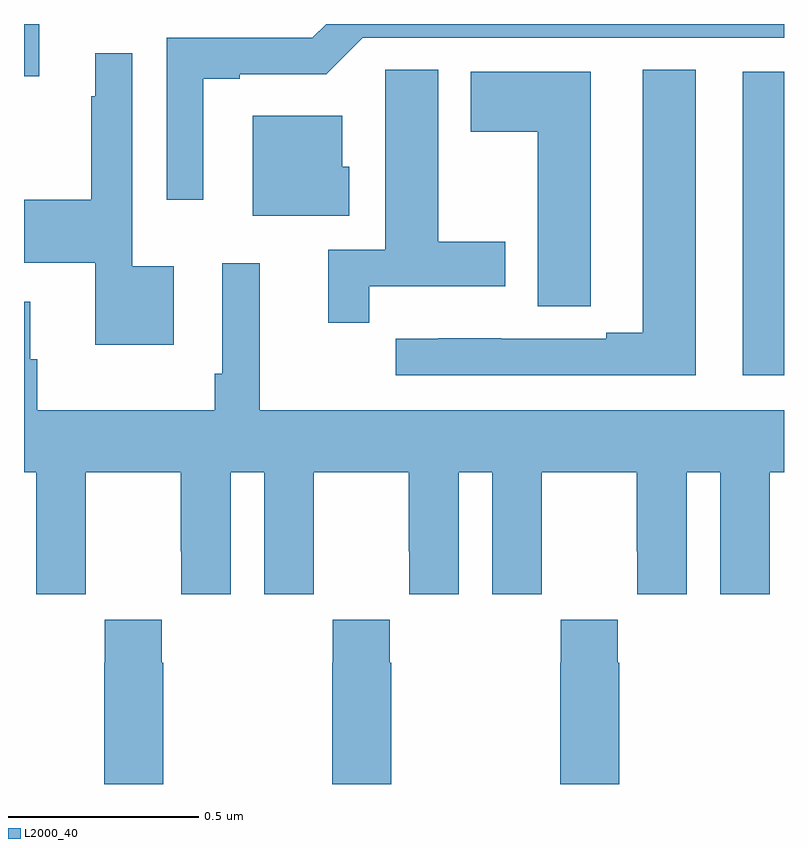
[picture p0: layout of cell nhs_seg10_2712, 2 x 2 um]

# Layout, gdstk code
import gdstk
lib = gdstk.Library(unit=1e-6, precision=1e-09)
def R(c, l, rs):  # rectangles x0, y0, x1, y1
    for r in rs: c.add(gdstk.rectangle(r[:2], r[2:], *l))
def P(c, l, *ps):  # polygons
    for p in ps: c.add(gdstk.Polygon(p, *l))
L2000_40 = (2000, 40)

nhs_seg10_2712 = lib.new_cell('nhs_seg10_2712')
R(nhs_seg10_2712, L2000_40, [(145.892,1296.576,146,1297.374), (144,1297.362,144.04,1297.5)])
P(nhs_seg10_2712, L2000_40, [(144.472,1297.356),(144.568,1297.356),(144.568,1297.368),(144.795,1297.368),(144.891,1297.464),(146,1297.464),(146,1297.5),(144.795,1297.5),(144.759,1297.464),(144.375,1297.464),(144.375,1297.038),(144.472,1297.038)],
  [(144.394,1296.862),(144.285,1296.862),(144.285,1297.423),(144.188,1297.423),(144.188,1297.31),(144.177,1297.31),(144.177,1297.038),(144,1297.038),(144,1296.872),(144.188,1296.872),(144.188,1296.656),(144.394,1296.656)],
  [(144.908,1296.81),(145.267,1296.81),(145.267,1296.927),(145.09,1296.927),(145.09,1297.379),(144.951,1297.379),(144.951,1297.268),(144.95,1297.268),(144.95,1296.906),(144.8,1296.906),(144.8,1296.714),(144.908,1296.714)],
  [(145.768,1297.379),(145.628,1297.379),(145.628,1296.687),(145.532,1296.687),(145.532,1296.672),(145.256,1296.672),(145.256,1296.673),(145.09,1296.673),(145.09,1296.672),(144.978,1296.672),(144.978,1296.576),(145.768,1296.576)],
  [(145.491,1296.865),(145.492,1296.865),(145.492,1297.375),(145.175,1297.375),(145.175,1297.216),(145.352,1297.216),(145.352,1296.757),(145.491,1296.757)],
  [(144.856,1297.125),(144.838,1297.125),(144.838,1297.258),(144.602,1297.258),(144.602,1296.995),(144.856,1296.995)],
  [(144.162,1296.112),(144.163,1296.112),(144.163,1296.32),(144.413,1296.32),(144.413,1296.112),(144.414,1296.112),(144.414,1296),(144.544,1296),(144.544,1296.32),(144.632,1296.32),(144.632,1296),(144.762,1296),(144.762,1296.112),(144.763,1296.112),(144.763,1296.32),(145.013,1296.32),(145.013,1296.112),(145.014,1296.112),(145.014,1296),(145.144,1296),(145.144,1296.32),(145.232,1296.32),(145.232,1296),(145.362,1296),(145.362,1296.112),(145.363,1296.112),(145.363,1296.32),(145.613,1296.32),(145.613,1296.112),(145.614,1296.112),(145.614,1296),(145.744,1296),(145.744,1296.32),(145.832,1296.32),(145.832,1296),(145.962,1296),(145.962,1296.112),(145.963,1296.112),(145.963,1296.32),(146,1296.32),(146,1296.484),(144.62,1296.484),(144.62,1296.871),(144.522,1296.871),(144.522,1296.58),(144.502,1296.58),(144.502,1296.484),(144.035,1296.484),(144.035,1296.618),(144.016,1296.618),(144.016,1296.769),(144,1296.769),(144,1296.32),(144.032,1296.32),(144.032,1296),(144.162,1296)],
  [(145.566,1295.819),(145.563,1295.819),(145.563,1295.932),(145.413,1295.932),(145.413,1295.819),(145.411,1295.819),(145.411,1295.5),(145.566,1295.5)],
  [(144.366,1295.819),(144.363,1295.819),(144.363,1295.932),(144.213,1295.932),(144.213,1295.819),(144.211,1295.819),(144.211,1295.5),(144.366,1295.5)],
  [(144.966,1295.819),(144.963,1295.819),(144.963,1295.932),(144.813,1295.932),(144.813,1295.819),(144.811,1295.819),(144.811,1295.5),(144.966,1295.5)])

lib.write_gds('nhs_seg10_2712.gds')
